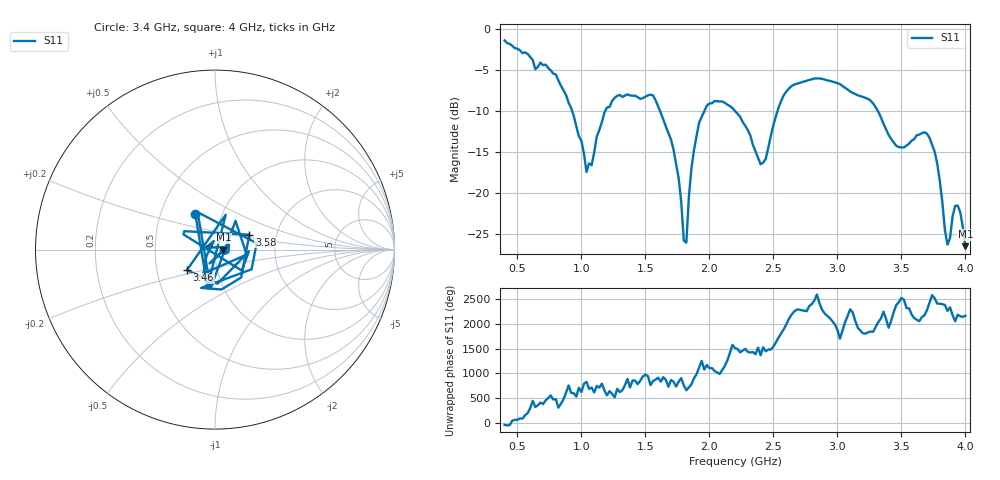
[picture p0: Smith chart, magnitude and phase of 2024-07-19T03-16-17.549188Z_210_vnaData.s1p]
!Created with skrf (http://scikit-rf.org).
# Hz S RI R 50.0
!freq ReS11 ImS11
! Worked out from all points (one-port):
!   181 points, 400 MHz to 4 GHz, reference 50 ohm
!   lowest |S11| = -26.5 dB at 4 GHz (marker M1), VSWR 1.10, Z = 55 - j0.0131 ohm
!   |S11| at or under -10 dB: 1.614 GHz to 1.96 GHz (345.4 MHz wide, 19.3 % of centre); 2.201 GHz to 2.532 GHz (331.3 MHz wide, 14 % of centre); 3.317 GHz to end of sweep (the widest 3 of 4)
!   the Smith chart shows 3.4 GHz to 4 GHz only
!   S11 on the Smith chart (normalised r, x): 3.4 GHz: 0.75, +0.31; 3.46 GHz: 0.71, -0.17; 3.58 GHz: 1.45, +0.25; 4 GHz: 1.10, -0.00
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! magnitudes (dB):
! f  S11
! 400 MHz  -1.4
! 860 MHz  -7.5
! 1.04 GHz  -17.4
! 1.18 GHz  -10.2
! 1.3 GHz  -8.0
! 1.56 GHz  -8.1
! 1.7 GHz  -13.5
! 1.76 GHz  -18.2
! 1.8 GHz  -25.8
! 1.82 GHz  -26.1
! 1.86 GHz  -17.0
! 1.92 GHz  -11.4
! 2.04 GHz  -8.8
! 2.2 GHz  -10.0
! 2.4 GHz  -16.5
! 2.56 GHz  -8.8
! 2.66 GHz  -6.8
! 3.1 GHz  -7.6
! 3.26 GHz  -8.7
! 3.4 GHz  -12.9
! 3.46 GHz  -14.2
! 3.56 GHz  -14.0
! 3.58 GHz  -13.6
! 3.72 GHz  -13.3
! 3.78 GHz  -16.4
! 3.86 GHz  -26.3
! 3.94 GHz  -21.6
! 4 GHz  -26.5
